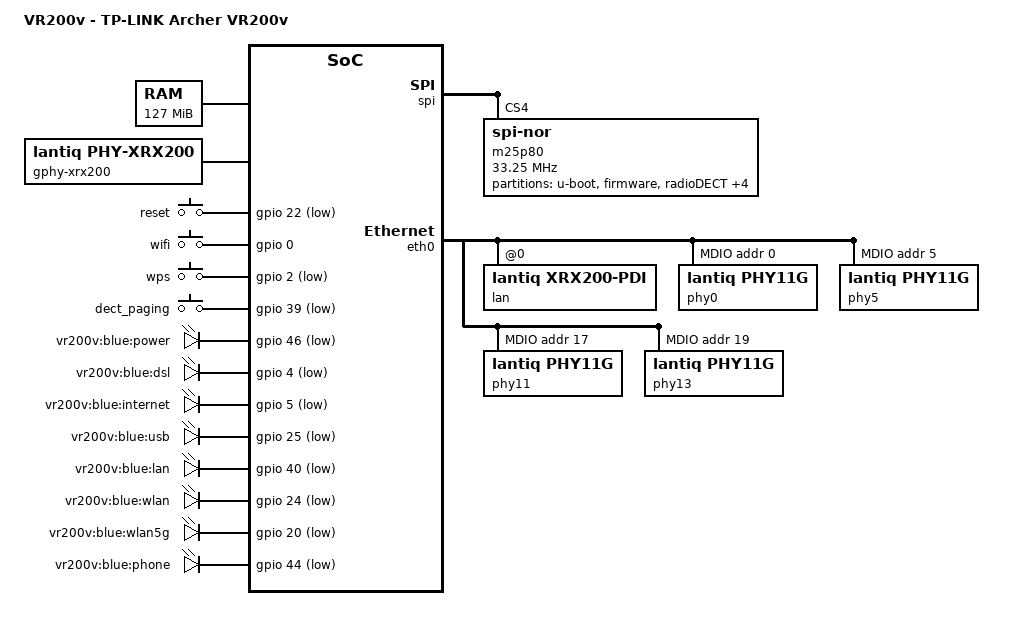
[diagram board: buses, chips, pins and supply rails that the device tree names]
/dts-v1/;

/include/ "vr9.dtsi"

/ {
	model = "VR200v - TP-LINK Archer VR200v";

	chosen {
		bootargs = "console=ttyLTQ0,115200 init=/etc/preinit";

		leds {
			boot = &power;
			failsafe = &power;

			dsl = &dsl;
			internet = &internet;
			usb = &usb;
			usb2 = &usb;
		};
	};

	memory@0 {
		reg = <0x0 0x7f00000>;
	};

	fpi@10000000 {
		gpio: pinmux@E100B10 {
			pinctrl-names = "default";
			pinctrl-0 = <&state_default>;

			state_default: pinmux {
				mdio {
					lantiq,groups = "mdio";
					lantiq,function = "mdio";
				};
				gphy-leds {
					lantiq,groups = "gphy0 led1", "gphy1 led1";
					lantiq,function = "gphy";
					lantiq,pull = <2>;
					lantiq,open-drain = <0>;
					lantiq,output = <1>;
				};
				phy-rst {
					lantiq,pins = "io42";
					lantiq,pull = <0>;
					lantiq,open-drain = <0>;
					lantiq,output = <1>;
				};
				pcie-rst {
					lantiq,pins = "io38";
					lantiq,pull = <0>;
					lantiq,output = <1>;
				};
			};
			pins_spi_default: pins_spi_default {
				spi_in {
					lantiq,groups = "spi_di";
					lantiq,function = "spi";
				};
				spi_out {
					lantiq,groups = "spi_do", "spi_clk",
						"spi_cs4";
					lantiq,function = "spi";
					lantiq,output = <1>;
				};
			};
		};

		ifxhcd@E101000 {
			status = "okay";
			gpios = <&gpio 33 0>;
			lantiq,portmask = <0x3>;
		};

		ifxhcd@E106000 {
			status = "okay";
			gpios = <&gpio 33 0>;
		};
	};

	gphy-xrx200 {
		compatible = "lantiq,phy-xrx200";
		firmware = "lantiq/vr9_phy11g_a2x.bin";
		phys = [ 00 01 ];
	};

	gpio-keys-polled {
		compatible = "gpio-keys-polled";
		#address-cells = <1>;
		#size-cells = <0>;
		poll-interval = <100>;
		reset {
			label = "reset";
			gpios = <&gpio 22 1>;
			linux,code = <0x198>;
		};

		wifi {
			label = "wifi";
			gpios = <&gpio 0 0>;
			linux,code = <0xf7>;
			linux,input-type = <5>; /* EV_SW */
		};

		wps {
			label = "wps";
			gpios = <&gpio 2 1>;
			linux,code = <0x211>;
		};

		dect_paging {
			label = "dect_paging";
			gpios = <&gpio 39 1>;
			linux,code = <0x211>;
		};
	};

	gpio-leds {
		compatible = "gpio-leds";
		power: power {
			label = "vr200v:blue:power";
			gpios = <&gpio 46 1>;
		};
		dsl: dsl {
			label = "vr200v:blue:dsl";
			gpios = <&gpio 4 1>;
		};
		internet: internet {
			label = "vr200v:blue:internet";
			gpios = <&gpio 5 1>;
		};
		usb: usb {
			label = "vr200v:blue:usb";
			gpios = <&gpio 25 1>;
		};
		eth {
			label = "vr200v:blue:lan";
			gpios = <&gpio 40 1>;
		};
		wlan {
			label = "vr200v:blue:wlan";
			gpios = <&gpio 24 1>;
		};
		wlan5g {
			label = "vr200v:blue:wlan5g";
			gpios = <&gpio 20 1>;
		};
		phone {
			label = "vr200v:blue:phone";
			gpios = <&gpio 44 1>;
		};
	};
};

&spi {
	pinctrl-names = "default";
	pinctrl-0 = <&pins_spi_default>;

	status = "ok";

	m25p80@4 {
		#address-cells = <1>;
		#size-cells = <1>;
		compatible = "jedec,spi-nor";
		reg = <4 0>;
		spi-max-frequency = <33250000>;
		m25p,fast-read;

		partition@0 {
			reg = <0x0 0x20000>;
			label = "u-boot";
			read-only;
		};

		partition@20000 {
			reg = <0x20000 0xf90000>;
			label = "firmware";
		};

		partition@fb0000 {
			reg = <0xfb0000 0x10000>;
			label = "radioDECT";
			read-only;
		};

		partition@fc0000 {
			reg = <0xfc0000 0x10000>;
			label = "config";
			read-only;
		};

		romfile: partition@fd0000 {
			reg = <0xfd0000 0x10000>;
			label = "romfile";
			read-only;
		};

		partition@fe0000 {
			reg = <0xfe0000 0x10000>;
			label = "rom";
			read-only;
		};

		partition@ff0000 {
			reg = <0xff0000 0x10000>;
			label = "radio";
			read-only;
		};
	};
};

&eth0 {
	lan: interface@0 {
		compatible = "lantiq,xrx200-pdi";
		#address-cells = <1>;
		#size-cells = <0>;
		reg = <0>;
		mtd-mac-address = <&romfile 0xf100>;
		lantiq,switch;

		ethernet@0 {
			compatible = "lantiq,xrx200-pdi-port";
			reg = <0>;
			phy-mode = "rgmii";
			phy-handle = <&phy0>;
			// gpios = <&gpio 42 1>;
		};
		ethernet@5 {
			compatible = "lantiq,xrx200-pdi-port";
			reg = <5>;
			phy-mode = "rgmii";
			phy-handle = <&phy5>;
		};
		ethernet@2 {
			compatible = "lantiq,xrx200-pdi-port";
			reg = <2>;
			phy-mode = "gmii";
			phy-handle = <&phy11>;
		};
		ethernet@3 {
			compatible = "lantiq,xrx200-pdi-port";
			reg = <4>;
			phy-mode = "gmii";
			phy-handle = <&phy13>;
		};
	};

	mdio@0 {
		#address-cells = <1>;
		#size-cells = <0>;
		compatible = "lantiq,xrx200-mdio";
		phy0: ethernet-phy@0 {
			reg = <0x0>;
			compatible = "lantiq,phy11g", "ethernet-phy-ieee802.3-c22";
		};
		phy5: ethernet-phy@5 {
			reg = <0x5>;
			compatible = "lantiq,phy11g", "ethernet-phy-ieee802.3-c22";
		};
		phy11: ethernet-phy@11 {
			reg = <0x11>;
			compatible = "lantiq,phy11g", "ethernet-phy-ieee802.3-c22";
		};
		phy13: ethernet-phy@13 {
			reg = <0x13>;
			compatible = "lantiq,phy11g", "ethernet-phy-ieee802.3-c22";
		};
	};
};
